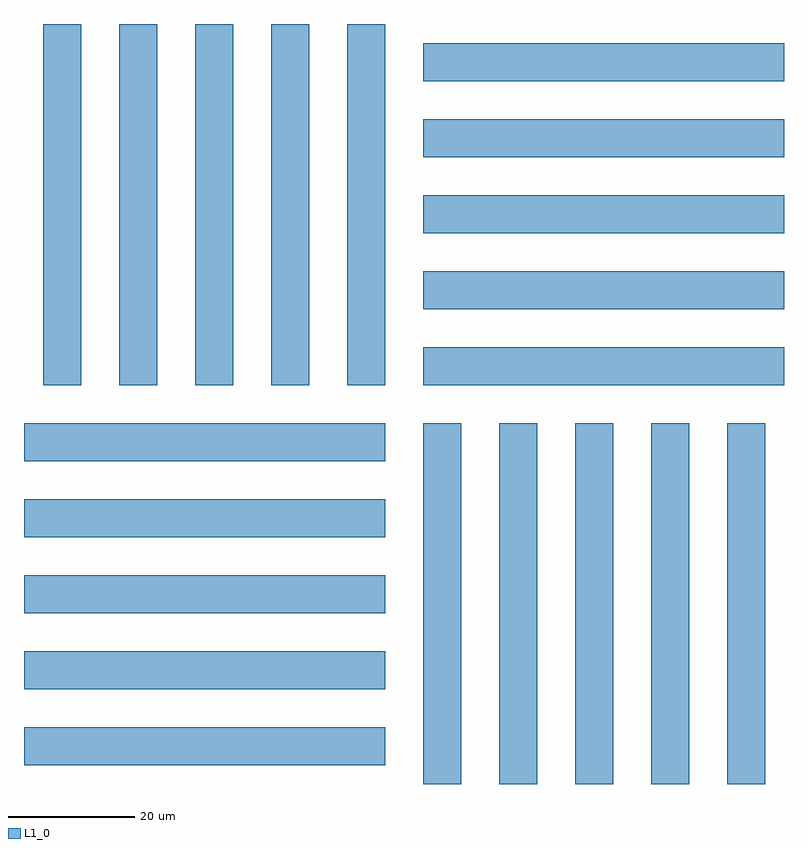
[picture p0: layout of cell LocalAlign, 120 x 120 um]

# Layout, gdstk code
import gdstk
lib = gdstk.Library(unit=1e-6, precision=1e-09)
def R(c, l, rs):  # rectangles x0, y0, x1, y1
    for r in rs: c.add(gdstk.rectangle(r[:2], r[2:], *l))
def A(c, l, x, y, w, h, nx, ny, dx, dy):  # array of equal rectangles
    R(c, l, [(x+i*dx, y+j*dy, x+i*dx+w, y+j*dy+h) for i in range(nx) for j in range(ny)])
L1_0 = (1, 0)

localalign = lib.new_cell('LocalAlign')
A(localalign, L1_0, 3, -60, 6, 57, 5, 1, 12, 0)
A(localalign, L1_0, -60, -57, 57, 6, 1, 5, 0, 12)
A(localalign, L1_0, -57, 3, 6, 57, 5, 1, 12, 0)
A(localalign, L1_0, 3, 3, 57, 6, 1, 5, 0, 12)

lib.write_gds('LocalAlign.gds')
